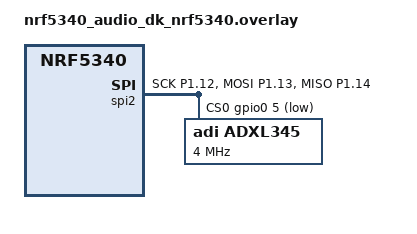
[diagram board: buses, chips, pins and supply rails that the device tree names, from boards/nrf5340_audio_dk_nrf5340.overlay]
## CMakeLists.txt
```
# SPDX-License-Identifier: Apache-2.0

cmake_minimum_required(VERSION 3.20.0)
find_package(Zephyr REQUIRED HINTS $ENV{ZEPHYR_BASE})
project(sensor_api)

target_sources(app PRIVATE src/main.c)
```

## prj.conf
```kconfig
CONFIG_NEWLIB_LIBC=y
CONFIG_NEWLIB_LIBC_FLOAT_PRINTF=y

CONFIG_GPIO=y
CONFIG_SPI=y
CONFIG_SENSOR=y
CONFIG_ADXL345=y
```

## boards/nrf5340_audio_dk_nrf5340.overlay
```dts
&spi2 {
    compatible = "nordic,nrf-spim";
    status = "okay";
    cs-gpios = <&gpio0 5 GPIO_ACTIVE_LOW>;
    pinctrl-0 = <&spi2_default>;
    pinctrl-1 = <&spi2_sleep>;
    pinctrl-names = "default", "sleep";

    adxl345: adxl345@0 {
	compatible = "adi,adxl345";
	reg = <0>;
	spi-max-frequency = <4000000>;
    };
};

&pinctrl {
    spi2_default: spi2_default {
        group1 {
            psels = <NRF_PSEL(SPIM_SCK, 1, 12)>,    // SCK
                    <NRF_PSEL(SPIM_MOSI, 1, 13)>,   // SDA
                    <NRF_PSEL(SPIM_MISO, 1, 14)>;   // SDO
        };
    };
    spi2_sleep: spi2_sleep {
        group1 {
            psels = <NRF_PSEL(SPIM_SCK, 1, 12)>,
                    <NRF_PSEL(SPIM_MOSI, 1, 13)>,
                    <NRF_PSEL(SPIM_MISO, 1, 14)>;
            low-power-enable;
        };
    };
};

&pwm0 {
    status = "disabled";
};
```

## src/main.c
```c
/*
 * Copyright (c) 2016 Intel Corporation
 *
 * SPDX-License-Identifier: Apache-2.0
 */

#include <zephyr/device.h>
#include <zephyr/kernel.h>
#include <zephyr/drivers/gpio.h>
#include <zephyr/drivers/sensor.h>
#include <zephyr/logging/log.h>

/* 1000 msec = 1 sec */
#define SLEEP_TIME_MS   1000

/* The devicetree node identifier */
#define LED0_NODE DT_ALIAS(led0)

LOG_MODULE_REGISTER(acc);

static const struct gpio_dt_spec led = GPIO_DT_SPEC_GET(LED0_NODE, gpios);

static void fetch_and_display(const struct device *sensor)
{
	static unsigned int count;
	struct sensor_value accel[3];
	const char *overrun = "";
	int rc = sensor_sample_fetch(sensor);

	++count;
	
	if (rc == 0) {
		rc = sensor_channel_get(sensor,
					SENSOR_CHAN_ACCEL_XYZ,
					accel);
	}
	if (rc < 0) {
		printf("ERROR: Update failed: %d\n", rc);
	} 
	
	/* Aqui pode dar o problema do *float*. Para o que esta a seguir funcionar 
		tem que colocar o que esta la no proj.conf. Se nao usar aquilo, tem 
		que descomentar o que eu vou colocar a seguir
	*/
	
	// else 
	// {
	// 	printf("#%u @ %u ms: %sx %i.%i , y %i.%i , z %i.%i",
	// 	       count, k_uptime_get_32(), overrun,
	// 	       abs(&accel[0].val1), abs(&accel[0].val2), 
	// 	       abs(&accel[1].val1), abs(&accel[1].val2), 
	// 		   abs(&accel[2].val1), abs(&accel[2].val2) );
	// }

	else 
	{
		printf("#%u @ %u ms: %sx %f , y %f , z %f",
		       count, k_uptime_get_32(), overrun,
		       sensor_value_to_double(&accel[0]),
		       sensor_value_to_double(&accel[1]),
		       sensor_value_to_double(&accel[2]));
	}
}


void main(void)
{
	static const struct device *acc= DEVICE_DT_GET(DT_NODELABEL(adxl345));

	if (acc == NULL) {
		LOG_ERR("Accelerometer device pointer is NULL");
		return;
	}

	if (!device_is_ready(acc)) {
		LOG_ERR("Accelerometer device is not ready");
		return;
	}

	if (!gpio_is_ready_dt(&led)) {
		return;
	}

	if (gpio_pin_configure_dt(&led, GPIO_OUTPUT_ACTIVE) != 0) {
		LOG_ERR("Unnable to configure LED");
		return;
	}

	while (true) {

		LOG_INF("Polling at 0.5 Hz");
		fetch_and_display(acc);

		if (gpio_pin_toggle_dt(&led) != 0) {
			LOG_ERR("Unnable to toggle LED");
			return;
		}

		k_msleep(SLEEP_TIME_MS);
	}
}
```
